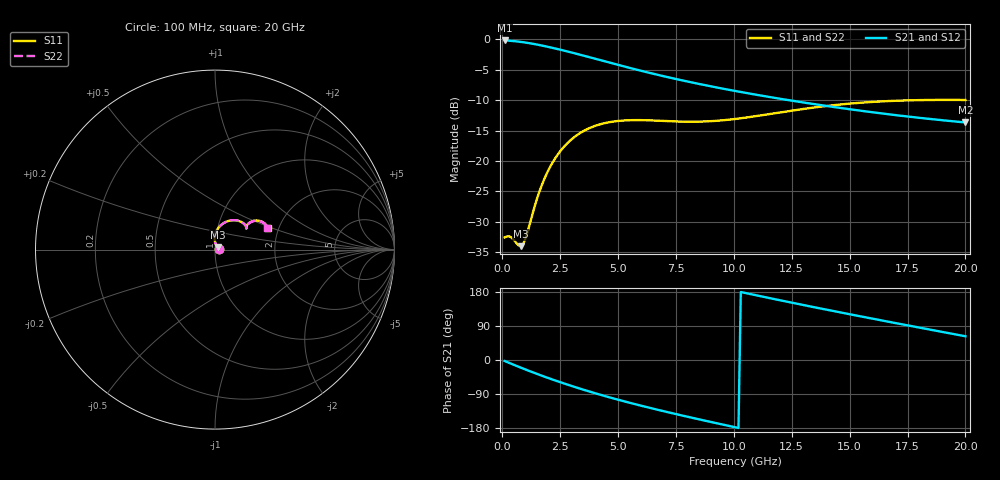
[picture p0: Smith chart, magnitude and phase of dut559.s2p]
! Touchstone file exported from HFSS 2024.1.0
!  File:  C:/UserFiles/LocalFiles/RDL_TSV_Batchsim/temp_RDL_TSV_559_1779751818.aedt
!  Generated:  07:47:20 AM May 26, 2026
!  Design:  RDL_TSV
!  Project:  temp_RDL_TSV_559_1779751818
!  Setup:  Setup1
!  Solution:  Sweep
! Variables:
!  dtsv = 9.42um
!  hbump = 3um
!  htsv = 99.69um
!  ldown = 631.16um
!  lrdl = 587.4um
!  p = 40
!  p1 = 55.06um
!  rhole = 10um
!  subl = 4243.08um
!  t = 450um
!  tdown = 2.12um
!  trdl = 3.65um
!  viad = 10um
!  wdown = 21.4um
!  wrdl = 28.01um
!  xbump = 18um
# GHz S MA R 50.000000
! Terminal data exported
! Port[1] = TM1_1_T1
! Port[2] = TM1_4_T1
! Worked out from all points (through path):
!   200 points, 100 MHz to 20 GHz, reference 50 ohm
!   highest |S21| = -0.21 dB at 100 MHz (marker M1); lowest = -13.7 dB at 20 GHz (marker M2)
!   group delay of S21, straight-line fit = 39.1 ps
!   lowest |S11| = -34.0 dB at 800 MHz (marker M3), VSWR 1.04, Z = 51.4 + j1.43 ohm
!   |S11| at or under -10 dB: start of sweep to 18.12 GHz
!   |S22| runs from -34.0 to -10.0 dB; largest |S21 - S12| = 1.1e-14
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0.1  0.02356 5.1  0.9759 -2.6  0.9759 -2.6  0.02356 5.1
! Gamma 0 0 0 0
! Port Impedance 50 0 50 0
0.4  0.02349 14.9  0.9677 -10.3  0.9677 -10.3  0.02349 14.9
0.7  0.02028 33.5  0.9549 -17.8  0.9549 -17.8  0.02028 33.5
0.8  0.01997 44.2  0.9497 -20.2  0.9497 -20.2  0.01997 44.2
0.9  0.0208 56.1  0.9441 -22.7  0.9441 -22.7  0.02079 56.1
1  0.02299 67.2  0.938 -25.1  0.938 -25.1  0.02299 67.2
1.6  0.05582 91.8  0.8952 -39.1  0.8952 -39.1  0.05582 91.8
1.8  0.07005 91.2  0.8792 -43.5  0.8792 -43.5  0.07006 91.2
2.1  0.09191 87.9  0.8543 -50.1  0.8543 -50.1  0.09193 87.9
2.7  0.1331 78.3  0.8025 -62.7  0.8025 -62.7  0.1332 78.3
3.5  0.1758 65.1  0.7333 -78.4  0.7333 -78.4  0.1758 65.1
4.3  0.2018 53.8  0.6677 -92.9  0.6677 -92.9  0.202 53.8
5.1  0.2139 45.1  0.6082 -106.4  0.6082 -106.4  0.2141 45.1
5.9  0.2165 39.1  0.5557 -119.2  0.5557 -119.2  0.2168 39.0
6.8  0.2139 35.2  0.5049 -132.7  0.5049 -132.7  0.2142 35.1
8.3  0.21 34.3  0.4365 -153.9  0.4365 -153.9  0.2103 34.1
10.1  0.2216 37.0  0.3742 -178.1  0.3742 -178.1  0.2215 36.8
11.7  0.2454 38.0  0.3311 161.3  0.3311 161.3  0.2448 37.7
13.4  0.2738 36.2  0.2942 140.1  0.2942 140.1  0.2726 35.9
15  0.2957 32.8  0.2659 120.8  0.2659 120.8  0.2942 32.7
16.7  0.3105 28.8  0.2415 100.7  0.2415 100.7  0.3087 28.7
20  0.3167 22.3  0.2071 62.6  0.2071 62.6  0.3147 22.3
